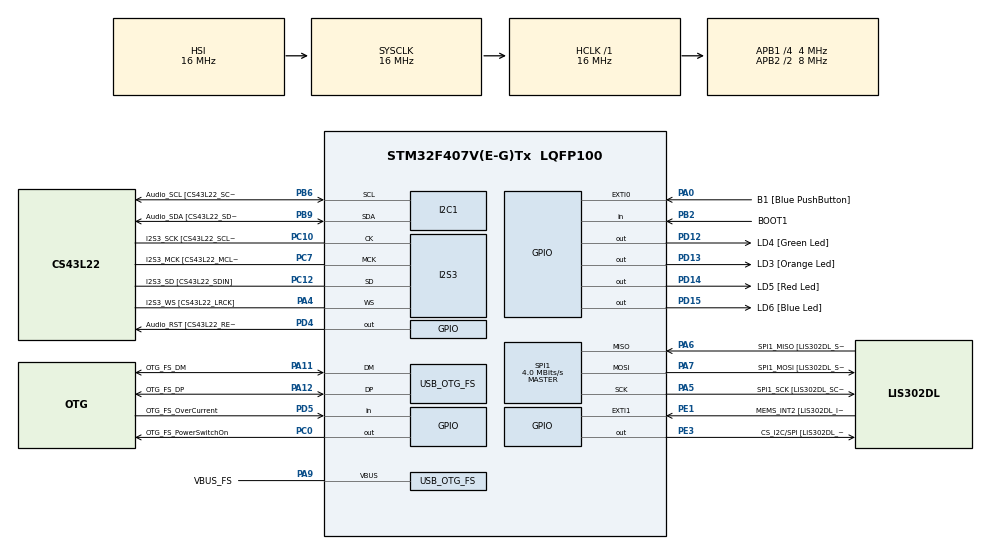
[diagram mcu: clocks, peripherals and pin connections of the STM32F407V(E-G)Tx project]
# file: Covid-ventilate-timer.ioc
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I2S3.AudioFreq=I2S_AUDIOFREQ_48K
I2S3.AudioFreq-Half_Duplex_Master=I2S_AUDIOFREQ_96K
I2S3.DataFormat=I2S_DATAFORMAT_16B_EXTENDED
I2S3.ErrorAudioFreq=-0.17 %
I2S3.ErrorAudioFreq-Half_Duplex_Master=0.8 %
I2S3.FullDuplexMode=I2S_FULLDUPLEXMODE_DISABLE
I2S3.Instance=SPI$Index
I2S3.RealAudioFreq=47.916 KHz
I2S3.RealAudioFreq-Half_Duplex_Master=96.774 KHz
I2S3.VirtualMode=I2S_MODE_MASTER
Mcu.Family=STM32F4
Mcu.Name=STM32F407V(E-G)Tx
Mcu.Package=LQFP100
NVIC.EXTI0_IRQn=true\:0\:0\:false\:false\:true\:true\:true
NVIC.OTG_FS_IRQn=true\:0\:0\:false\:false\:true\:true\:true
NVIC.PriorityGroup=NVIC_PRIORITYGROUP_0
PA0-WKUP.GPIO_Label=B1 [Blue PushButton]
PA0-WKUP.GPIO_ModeDefaultEXTI=GPIO_MODE_IT_RISING
PA0-WKUP.GPIO_PuPd=GPIO_NOPULL
PA0-WKUP.Signal=GPXTI0
PA10.GPIO_Label=OTG_FS_ID
PA10.GPIO_Mode=GPIO_MODE_AF_PP
PA10.GPIO_PuPd=GPIO_NOPULL
PA10.GPIO_Speed=GPIO_SPEED_FREQ_LOW
PA10.Signal=USB_OTG_FS_ID
PA11.GPIO_Label=OTG_FS_DM
PA11.GPIO_Mode=GPIO_MODE_AF_PP
PA11.GPIO_PuPd=GPIO_NOPULL
PA11.GPIO_Speed=GPIO_SPEED_FREQ_LOW
PA11.Mode=Host_Only
PA11.Signal=USB_OTG_FS_DM
PA12.GPIO_Label=OTG_FS_DP
PA12.GPIO_Mode=GPIO_MODE_AF_PP
PA12.GPIO_PuPd=GPIO_NOPULL
PA12.GPIO_Speed=GPIO_SPEED_FREQ_LOW
PA12.Mode=Host_Only
PA12.Signal=USB_OTG_FS_DP
PA13.GPIO_Label=SWDIO
PA13.Mode=Serial_Wire
PA13.Signal=SYS_JTMS-SWDIO
PA14.GPIO_Label=SWCLK
PA14.Mode=Serial_Wire
PA14.Signal=SYS_JTCK-SWCLK
PA4.GPIO_Label=I2S3_WS [CS43L22_LRCK]
PA4.GPIO_Mode=GPIO_MODE_AF_PP
PA4.GPIO_PuPd=GPIO_NOPULL
PA4.GPIO_Speed=GPIO_SPEED_FREQ_LOW
PA4.Mode=Half_Duplex_Master
PA4.Signal=I2S3_WS
PA5.GPIO_Label=SPI1_SCK [LIS302DL_SCL/SPC]
PA5.GPIO_Mode=GPIO_MODE_AF_PP
PA5.GPIO_PuPd=GPIO_NOPULL
PA5.GPIO_Speed=GPIO_SPEED_FREQ_LOW
PA5.Mode=Full_Duplex_Master
PA5.Signal=SPI1_SCK
PA6.GPIO_Label=SPI1_MISO [LIS302DL_SDO]
PA6.GPIO_Mode=GPIO_MODE_AF_PP
PA6.GPIO_PuPd=GPIO_NOPULL
PA6.GPIO_Speed=GPIO_SPEED_FREQ_LOW
PA6.Mode=Full_Duplex_Master
PA6.Signal=SPI1_MISO
PA7.GPIO_Label=SPI1_MOSI [LIS302DL_SDA/SDI/SDO]
PA7.GPIO_Mode=GPIO_MODE_AF_PP
PA7.GPIO_PuPd=GPIO_NOPULL
PA7.GPIO_Speed=GPIO_SPEED_FREQ_LOW
PA7.Mode=Full_Duplex_Master
PA7.Signal=SPI1_MOSI
PA9.GPIO_Label=VBUS_FS
PA9.GPIO_Mode=GPIO_MODE_INPUT
PA9.GPIO_PuPd=GPIO_NOPULL
PA9.Mode=Activate_VBUS
PA9.Signal=USB_OTG_FS_VBUS
PB10.GPIO_Label=CLK_IN [MP45DT02_CLK]
PB10.GPIO_Mode=GPIO_MODE_AF_PP
PB10.GPIO_PuPd=GPIO_NOPULL
PB10.GPIO_Speed=GPIO_SPEED_FREQ_LOW
PB10.Signal=I2S2_CK
PB2.GPIO_Label=BOOT1
PB2.GPIO_Mode=GPIO_MODE_INPUT
PB2.GPIO_PuPd=GPIO_NOPULL
PB2.Signal=GPIO_Input
PB3.GPIO_Label=SWO
PB3.Signal=SYS_JTDO-SWO
PB6.GPIO_Label=Audio_SCL [CS43L22_SCL]
PB6.GPIO_Mode=GPIO_MODE_AF_OD
PB6.GPIO_PuPd=GPIO_NOPULL
PB6.GPIO_Speed=GPIO_SPEED_FREQ_LOW
PB6.Mode=I2C
PB6.Signal=I2C1_SCL
PB9.GPIO_Label=Audio_SDA [CS43L22_SDA]
PB9.GPIO_Mode=GPIO_MODE_AF_OD
PB9.GPIO_PuPd=GPIO_NOPULL
PB9.GPIO_Speed=GPIO_SPEED_FREQ_LOW
PB9.Mode=I2C
PB9.Signal=I2C1_SDA
PC0.GPIO_Label=OTG_FS_PowerSwitchOn
PC0.GPIO_PuPd=GPIO_NOPULL
PC0.GPIO_Speed=GPIO_SPEED_FREQ_LOW
PC0.PinState=GPIO_PIN_SET
PC0.Signal=GPIO_Output
PC10.GPIO_Label=I2S3_SCK [CS43L22_SCLK]
PC10.GPIO_Mode=GPIO_MODE_AF_PP
PC10.GPIO_PuPd=GPIO_NOPULL
PC10.GPIO_Speed=GPIO_SPEED_FREQ_LOW
PC10.Mode=Half_Duplex_Master
PC10.Signal=I2S3_CK
PC12.GPIO_Label=I2S3_SD [CS43L22_SDIN]
PC12.GPIO_Mode=GPIO_MODE_AF_PP
PC12.GPIO_PuPd=GPIO_NOPULL
PC12.GPIO_Speed=GPIO_SPEED_FREQ_LOW
PC12.Mode=Half_Duplex_Master
PC12.Signal=I2S3_SD
PC14-OSC32_IN.GPIO_Label=PC14-OSC32_IN
PC14-OSC32_IN.Mode=LSE-External-Oscillator
PC14-OSC32_IN.Signal=RCC_OSC32_IN
PC15-OSC32_OUT.GPIO_Label=PC15-OSC32_OUT
PC15-OSC32_OUT.Mode=LSE-External-Oscillator
PC15-OSC32_OUT.Signal=RCC_OSC32_OUT
PC3.GPIO_Label=PDM_OUT [MP45DT02_DOUT]
PC3.GPIO_Mode=GPIO_MODE_AF_PP
PC3.GPIO_PuPd=GPIO_NOPULL
PC3.GPIO_Speed=GPIO_SPEED_FREQ_LOW
PC3.Signal=I2S2_SD
PC7.GPIO_Label=I2S3_MCK [CS43L22_MCLK]
PC7.GPIO_Mode=GPIO_MODE_AF_PP
PC7.GPIO_PuPd=GPIO_NOPULL
PC7.GPIO_Speed=GPIO_SPEED_FREQ_LOW
PC7.Mode=Master_Clock_Activated
PC7.Signal=I2S3_MCK
PD12.GPIO_Label=LD4 [Green Led]
PD12.GPIO_PuPd=GPIO_NOPULL
PD12.GPIO_Speed=GPIO_SPEED_FREQ_LOW
PD12.Signal=GPIO_Output
PD13.GPIO_Label=LD3 [Orange Led]
PD13.GPIO_PuPd=GPIO_NOPULL
PD13.GPIO_Speed=GPIO_SPEED_FREQ_LOW
PD13.Signal=GPIO_Output
PD14.GPIO_Label=LD5 [Red Led]
PD14.GPIO_PuPd=GPIO_NOPULL
PD14.GPIO_Speed=GPIO_SPEED_FREQ_LOW
PD14.Signal=GPIO_Output
PD15.GPIO_Label=LD6 [Blue Led]
PD15.GPIO_PuPd=GPIO_NOPULL
PD15.GPIO_Speed=GPIO_SPEED_FREQ_LOW
PD15.Signal=GPIO_Output
PD4.GPIO_Label=Audio_RST [CS43L22_RESET]
PD4.GPIO_PuPd=GPIO_NOPULL
PD4.GPIO_Speed=GPIO_SPEED_FREQ_LOW
PD4.Signal=GPIO_Output
PD5.GPIO_Label=OTG_FS_OverCurrent
PD5.GPIO_Mode=GPIO_MODE_INPUT
PD5.GPIO_PuPd=GPIO_NOPULL
PD5.Signal=GPIO_Input
PE1.GPIO_Label=MEMS_INT2 [LIS302DL_INT2]
PE1.GPIO_ModeDefaultEXTI=GPIO_MODE_EVT_RISING
PE1.GPIO_PuPd=GPIO_NOPULL
PE1.Signal=GPXTI1
PE3.GPIO_Label=CS_I2C/SPI [LIS302DL_CS_I2C/SPI]
PE3.GPIO_PuPd=GPIO_NOPULL
PE3.GPIO_Speed=GPIO_SPEED_FREQ_LOW
PE3.Signal=GPIO_Output
PH0-OSC_IN.GPIO_Label=PH0-OSC_IN
PH0-OSC_IN.Mode=HSE-External-Oscillator
PH0-OSC_IN.Signal=RCC_OSC_IN
PH1-OSC_OUT.GPIO_Label=PH1-OSC_OUT
PH1-OSC_OUT.Mode=HSE-External-Oscillator
PH1-OSC_OUT.Signal=RCC_OSC_OUT
ProjectManager.HeapSize=0x200
ProjectManager.StackSize=0x400
ProjectManager.TargetToolchain=STM32CubeIDE
RCC.48MHZClocksFreq_Value=48000000
RCC.AHBFreq_Value=16000000
RCC.APB1CLKDivider=RCC_HCLK_DIV4
RCC.APB1Freq_Value=4000000
RCC.APB1TimFreq_Value=8000000
RCC.APB2CLKDivider=RCC_HCLK_DIV2
RCC.APB2Freq_Value=8000000
RCC.APB2TimFreq_Value=16000000
RCC.CortexFreq_Value=16000000
RCC.HCLKFreq_Value=16000000
RCC.HSE_VALUE=8000000
RCC.HSI_VALUE=16000000
RCC.PLLI2SN=184
RCC.PLLM=4
RCC.PLLN=72
RCC.PLLP=RCC_PLLP_DIV4
RCC.PLLQ=3
RCC.SYSCLKFreq_VALUE=16000000
RCC.VCOOutputFreq_Value=144000000
SPI1.BaudRatePrescaler-Full_Duplex_Master=SPI_BAUDRATEPRESCALER_2
SPI1.CalculateBaudRate=4.0 MBits/s
SPI1.CalculateBaudRate-Full_Duplex_Master=42.0 MBits/s
SPI1.Direction=SPI_DIRECTION_2LINES
SPI1.Mode=SPI_MODE_MASTER
SPI1.Mode-Full_Duplex_Master=SPI_MODE_MASTER
SPI1.VirtualType=VM_MASTER
USB_HOST.BSP.number=1
USB_HOST.USBH_HandleTypeDef-CDC_FS=hUsbHostFS
USB_HOST.VirtualModeFS=Cdc
USB_HOST0.BSP.STBoard=false
USB_HOST0.BSP.api=Unknown
USB_HOST0.BSP.i2caddr=0
USB_HOST0.BSP.i2creg=0
USB_HOST0.BSP.instance=PC0
USB_HOST0.BSP.ip=GPIO
USB_HOST0.BSP.mode=Output
USB_HOST0.BSP.name=Drive_VBUS_FS
USB_HOST0.BSP.solution=PC0
USB_OTG_FS.VirtualMode=Host_Only
USB_OTG_FS.phy_itface=HCD_PHY_EMBEDDED
VP_TIM6_VS_ClockSourceINT.Mode=Enable_Timer
VP_USB_HOST_VS_USB_HOST_CDC_FS.Mode=CDC_FS
board=STM32F407G-DISC1

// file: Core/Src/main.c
/* USER CODE BEGIN Header */
/**
  ******************************************************************************
  * @file           : main.c
  * @brief          : Main program body
  ******************************************************************************
  * @attention
  *
  * <h2><center>&copy; Copyright (c) 2021 STMicroelectronics.
  * All rights reserved.</center></h2>
  *
  * This software component is licensed by ST under Ultimate Liberty license
  * SLA0044, the "License"; You may not use this file except in compliance with
  * the License. You may obtain a copy of the License at:
  *                             www.st.com/SLA0044
  *
  ******************************************************************************
  */
/* USER CODE END Header */
#include "main.h"
#include "usb_host.h"

/* USER CODE BEGIN Includes */
#include <stdbool.h>
/* USER CODE END Includes */

I2C_HandleTypeDef hi2c1;

I2S_HandleTypeDef hi2s3;

SPI_HandleTypeDef hspi1;

TIM_HandleTypeDef htim6;

/* USER CODE BEGIN PV */
uint32_t LoopCountWindowClosed = 30*60;
uint32_t LoopCountWindowOpened = 5*60;

bool	ButtonPressed;
/* USER CODE END PV */

void SystemClock_Config(void);
static void MX_GPIO_Init(void);
static void MX_I2C1_Init(void);
static void MX_I2S3_Init(void);
static void MX_SPI1_Init(void);
static void MX_TIM6_Init(void);
void MX_USB_HOST_Process(void);

int main(void)
{

  /* MCU Configuration--------------------------------------------------------*/

  /* Reset of all peripherals, Initializes the Flash interface and the Systick. */
  HAL_Init();

  /* Configure the system clock */
  SystemClock_Config();

  /* Initialize all configured peripherals */
  MX_GPIO_Init();
  MX_I2C1_Init();
  MX_I2S3_Init();
  MX_SPI1_Init();
  MX_TIM6_Init();
  MX_USB_HOST_Init();
  /* USER CODE BEGIN 2 */

  	  ButtonPressed = false;

  /* USER CODE END 2 */

  /* Infinite loop */
  /* USER CODE BEGIN WHILE */
  while (1)
  {

	  HAL_Delay(1000);		// Delay in ms

	  HAL_GPIO_WritePin(GPIOD, GPIO_PIN_14, 1);		//	Red
	  HAL_GPIO_WritePin(GPIOD, GPIO_PIN_12, 1);		//	Green
	  HAL_GPIO_WritePin(GPIOD, GPIO_PIN_15, 1);		//	Blue
	  HAL_GPIO_WritePin(GPIOD, GPIO_PIN_13, 1);		//	Orange

	  HAL_Delay(1*1000);	// Delay in ms

	  HAL_GPIO_WritePin(GPIOD, GPIO_PIN_14, 0);		//
	  HAL_GPIO_WritePin(GPIOD, GPIO_PIN_12, 0);		//
	  HAL_GPIO_WritePin(GPIOD, GPIO_PIN_15, 0);		//
	  HAL_GPIO_WritePin(GPIOD, GPIO_PIN_13, 0);		//

	  HAL_Delay(1*1000);	// Delay in ms

//	+	+	+		Alarm to Open the windows for fresh air and wait for PushButton	to confirm the opened windows	+	+	+	//
	  for (int var = 0; var < 1024; var++) {
		  HAL_GPIO_TogglePin(GPIOD, GPIO_PIN_14);	// Red
		  HAL_GPIO_TogglePin(GPIOD, GPIO_PIN_12);	// Green
		  HAL_GPIO_TogglePin(GPIOD, GPIO_PIN_15);	// Blue
		  HAL_GPIO_TogglePin(GPIOD, GPIO_PIN_13);	// Orange

		  HAL_Delay(200);	// Delay in ms

		  if (ButtonPressed == true) {			// Loop is running until the PushButton is pressed to confirm the opened windows
			  HAL_GPIO_WritePin(GPIOD, GPIO_PIN_14, 0);		//	Red
			  HAL_GPIO_WritePin(GPIOD, GPIO_PIN_12, 0);		//	Green
			  HAL_GPIO_WritePin(GPIOD, GPIO_PIN_15, 0);		//	Blue
			  HAL_GPIO_WritePin(GPIOD, GPIO_PIN_13, 0);		//	Orange

			  HAL_Delay(100);
			  ButtonPressed = false;
			  break;
		} else {
			var = 42;
		}
	}

//	+	+	+		Waiting the amount of time, for how long the windows should be opened	+	+	+	//
	  for (int var = 0; var < LoopCountWindowOpened; var++) {
//		  HAL_GPIO_TogglePin(GPIOD, GPIO_PIN_14);	// Red
		  HAL_GPIO_TogglePin(GPIOD, GPIO_PIN_12);	// Green
//		  HAL_GPIO_TogglePin(GPIOD, GPIO_PIN_15);	// Blue
//		  HAL_GPIO_TogglePin(GPIOD, GPIO_PIN_13);	// Orange

		  HAL_Delay(1000);	// Delay in ms
	}

// The windows can now be closed again
	  HAL_GPIO_WritePin(GPIOD, GPIO_PIN_14, 0);		//	Red
	  HAL_GPIO_WritePin(GPIOD, GPIO_PIN_12, 0);		//	Green
	  HAL_GPIO_WritePin(GPIOD, GPIO_PIN_15, 0);		//	Blue
	  HAL_GPIO_WritePin(GPIOD, GPIO_PIN_13, 0);		//	Orange
	  HAL_Delay(100);	// Delay in ms

//	+	+	+		Alarm to Close the windows	and wait for PushButton	to confirm the closed windows	+	+	+	//
	  for (int var = 0; var < 1024; var++) {
		  HAL_GPIO_TogglePin(GPIOD, GPIO_PIN_14);	// Red
		  //HAL_GPIO_TogglePin(GPIOD, GPIO_PIN_12);	// Green
		  //HAL_GPIO_TogglePin(GPIOD, GPIO_PIN_15);	// Blue
		  HAL_GPIO_TogglePin(GPIOD, GPIO_PIN_13);	// Orange

		  HAL_Delay(200);	// Delay in ms

		  if (ButtonPressed == true) {			// Loop is running until the PushButton is pressed to confirm the closed windows

			  HAL_GPIO_WritePin(GPIOD, GPIO_PIN_14, 0);		//	Red
			  HAL_GPIO_WritePin(GPIOD, GPIO_PIN_12, 0);		//	Green
			  HAL_GPIO_WritePin(GPIOD, GPIO_PIN_15, 0);		//	Blue
			  HAL_GPIO_WritePin(GPIOD, GPIO_PIN_13, 0);		//	Orange

			  HAL_Delay(100);
			  ButtonPressed = false;
			  break;
		} else {
			var = 42;
		}
	}
// Windows are now closed. Start to wait the amount of time with closed windows.

//	+	+	+		Waiting the amount of time, for how long the windows can be closed	+	+	+	//
	  for (int var = 0; var < LoopCountWindowClosed; var++) {
			  HAL_GPIO_TogglePin(GPIOD, GPIO_PIN_14);	// Red
	//		  HAL_GPIO_TogglePin(GPIOD, GPIO_PIN_12);	// Green
	//		  HAL_GPIO_TogglePin(GPIOD, GPIO_PIN_15);	// Blue
	//		  HAL_GPIO_TogglePin(GPIOD, GPIO_PIN_13);	// Orange

			  HAL_Delay(1000);	// Delay in ms
	}

	  HAL_GPIO_WritePin(GPIOD, GPIO_PIN_14, 0);		//	Red
	  HAL_GPIO_WritePin(GPIOD, GPIO_PIN_12, 0);		//	Green
	  HAL_GPIO_WritePin(GPIOD, GPIO_PIN_15, 0);		//	Blue
	  HAL_GPIO_WritePin(GPIOD, GPIO_PIN_13, 0);		//	Orange

    /* USER CODE END WHILE */
    MX_USB_HOST_Process();

  }
}

void SystemClock_Config(void)
{
  RCC_OscInitTypeDef RCC_OscInitStruct = {0};
  RCC_ClkInitTypeDef RCC_ClkInitStruct = {0};
  RCC_PeriphCLKInitTypeDef PeriphClkInitStruct = {0};

  /** Configure the main internal regulator output voltage
  */
  __HAL_RCC_PWR_CLK_ENABLE();
  __HAL_PWR_VOLTAGESCALING_CONFIG(PWR_REGULATOR_VOLTAGE_SCALE1);
  /** Initializes the RCC Oscillators according to the specified parameters
  * in the RCC_OscInitTypeDef structure.
  */
  RCC_OscInitStruct.OscillatorType = RCC_OSCILLATORTYPE_HSI|RCC_OSCILLATORTYPE_HSE;
  RCC_OscInitStruct.HSEState = RCC_HSE_ON;
  RCC_OscInitStruct.HSIState = RCC_HSI_ON;
  RCC_OscInitStruct.HSICalibrationValue = RCC_HSICALIBRATION_DEFAULT;
  RCC_OscInitStruct.PLL.PLLState = RCC_PLL_ON;
  RCC_OscInitStruct.PLL.PLLSource = RCC_PLLSOURCE_HSE;
  RCC_OscInitStruct.PLL.PLLM = 4;
  RCC_OscInitStruct.PLL.PLLN = 72;
  RCC_OscInitStruct.PLL.PLLP = RCC_PLLP_DIV4;
  RCC_OscInitStruct.PLL.PLLQ = 3;
  if (HAL_RCC_OscConfig(&RCC_OscInitStruct) != HAL_OK)
  {
    Error_Handler();
  }
  /** Initializes the CPU, AHB and APB buses clocks
  */
  RCC_ClkInitStruct.ClockType = RCC_CLOCKTYPE_HCLK|RCC_CLOCKTYPE_SYSCLK
                              |RCC_CLOCKTYPE_PCLK1|RCC_CLOCKTYPE_PCLK2;
  RCC_ClkInitStruct.SYSCLKSource = RCC_SYSCLKSOURCE_HSI;
  RCC_ClkInitStruct.AHBCLKDivider = RCC_SYSCLK_DIV1;
  RCC_ClkInitStruct.APB1CLKDivider = RCC_HCLK_DIV4;
  RCC_ClkInitStruct.APB2CLKDivider = RCC_HCLK_DIV2;

  if (HAL_RCC_ClockConfig(&RCC_ClkInitStruct, FLASH_LATENCY_0) != HAL_OK)
  {
    Error_Handler();
  }
  PeriphClkInitStruct.PeriphClockSelection = RCC_PERIPHCLK_I2S;
  PeriphClkInitStruct.PLLI2S.PLLI2SN = 184;
  PeriphClkInitStruct.PLLI2S.PLLI2SR = 2;
  if (HAL_RCCEx_PeriphCLKConfig(&PeriphClkInitStruct) != HAL_OK)
  {
    Error_Handler();
  }
}

static void MX_I2C1_Init(void)
{

  hi2c1.Instance = I2C1;
  hi2c1.Init.ClockSpeed = 100000;
  hi2c1.Init.DutyCycle = I2C_DUTYCYCLE_2;
  hi2c1.Init.OwnAddress1 = 0;
  hi2c1.Init.AddressingMode = I2C_ADDRESSINGMODE_7BIT;
  hi2c1.Init.DualAddressMode = I2C_DUALADDRESS_DISABLE;
  hi2c1.Init.OwnAddress2 = 0;
  hi2c1.Init.GeneralCallMode = I2C_GENERALCALL_DISABLE;
  hi2c1.Init.NoStretchMode = I2C_NOSTRETCH_DISABLE;
  if (HAL_I2C_Init(&hi2c1) != HAL_OK)
  {
    Error_Handler();
  }

}

static void MX_I2S3_Init(void)
{

  hi2s3.Instance = SPI3;
  hi2s3.Init.Mode = I2S_MODE_MASTER_TX;
  hi2s3.Init.Standard = I2S_STANDARD_PHILIPS;
  hi2s3.Init.DataFormat = I2S_DATAFORMAT_16B_EXTENDED;
  hi2s3.Init.MCLKOutput = I2S_MCLKOUTPUT_ENABLE;
  hi2s3.Init.AudioFreq = I2S_AUDIOFREQ_48K;
  hi2s3.Init.CPOL = I2S_CPOL_LOW;
  hi2s3.Init.ClockSource = I2S_CLOCK_PLL;
  hi2s3.Init.FullDuplexMode = I2S_FULLDUPLEXMODE_DISABLE;
  if (HAL_I2S_Init(&hi2s3) != HAL_OK)
  {
    Error_Handler();
  }

}

static void MX_SPI1_Init(void)
{

  /* SPI1 parameter configuration*/
  hspi1.Instance = SPI1;
  hspi1.Init.Mode = SPI_MODE_MASTER;
  hspi1.Init.Direction = SPI_DIRECTION_2LINES;
  hspi1.Init.DataSize = SPI_DATASIZE_8BIT;
  hspi1.Init.CLKPolarity = SPI_POLARITY_LOW;
  hspi1.Init.CLKPhase = SPI_PHASE_1EDGE;
  hspi1.Init.NSS = SPI_NSS_SOFT;
  hspi1.Init.BaudRatePrescaler = SPI_BAUDRATEPRESCALER_2;
  hspi1.Init.FirstBit = SPI_FIRSTBIT_MSB;
  hspi1.Init.TIMode = SPI_TIMODE_DISABLE;
  hspi1.Init.CRCCalculation = SPI_CRCCALCULATION_DISABLE;
  hspi1.Init.CRCPolynomial = 10;
  if (HAL_SPI_Init(&hspi1) != HAL_OK)
  {
    Error_Handler();
  }

}

static void MX_TIM6_Init(void)
{

  TIM_MasterConfigTypeDef sMasterConfig = {0};

  htim6.Instance = TIM6;
  htim6.Init.Prescaler = 0;
  htim6.Init.CounterMode = TIM_COUNTERMODE_UP;
  htim6.Init.Period = 65535;
  htim6.Init.AutoReloadPreload = TIM_AUTORELOAD_PRELOAD_DISABLE;
  if (HAL_TIM_Base_Init(&htim6) != HAL_OK)
  {
    Error_Handler();
  }
  sMasterConfig.MasterOutputTrigger = TIM_TRGO_RESET;
  sMasterConfig.MasterSlaveMode = TIM_MASTERSLAVEMODE_DISABLE;
  if (HAL_TIMEx_MasterConfigSynchronization(&htim6, &sMasterConfig) != HAL_OK)
  {
    Error_Handler();
  }

}

static void MX_GPIO_Init(void)
{
  GPIO_InitTypeDef GPIO_InitStruct = {0};

  /* GPIO Ports Clock Enable */
  __HAL_RCC_GPIOE_CLK_ENABLE();
  __HAL_RCC_GPIOC_CLK_ENABLE();
  __HAL_RCC_GPIOH_CLK_ENABLE();
  __HAL_RCC_GPIOA_CLK_ENABLE();
  __HAL_RCC_GPIOB_CLK_ENABLE();
  __HAL_RCC_GPIOD_CLK_ENABLE();

  /*Configure GPIO pin Output Level */
  HAL_GPIO_WritePin(CS_I2C_SPI_GPIO_Port, CS_I2C_SPI_Pin, GPIO_PIN_RESET);

  /*Configure GPIO pin Output Level */
  HAL_GPIO_WritePin(OTG_FS_PowerSwitchOn_GPIO_Port, OTG_FS_PowerSwitchOn_Pin, GPIO_PIN_SET);

  /*Configure GPIO pin Output Level */
  HAL_GPIO_WritePin(GPIOD, LD4_Pin|LD3_Pin|LD5_Pin|LD6_Pin
                          |Audio_RST_Pin, GPIO_PIN_RESET);

  /*Configure GPIO pin : CS_I2C_SPI_Pin */
  GPIO_InitStruct.Pin = CS_I2C_SPI_Pin;
  GPIO_InitStruct.Mode = GPIO_MODE_OUTPUT_PP;
  GPIO_InitStruct.Pull = GPIO_NOPULL;
  GPIO_InitStruct.Speed = GPIO_SPEED_FREQ_LOW;
  HAL_GPIO_Init(CS_I2C_SPI_GPIO_Port, &GPIO_InitStruct);

  /*Configure GPIO pin : OTG_FS_PowerSwitchOn_Pin */
  GPIO_InitStruct.Pin = OTG_FS_PowerSwitchOn_Pin;
  GPIO_InitStruct.Mode = GPIO_MODE_OUTPUT_PP;
  GPIO_InitStruct.Pull = GPIO_NOPULL;
  GPIO_InitStruct.Speed = GPIO_SPEED_FREQ_LOW;
  HAL_GPIO_Init(OTG_FS_PowerSwitchOn_GPIO_Port, &GPIO_InitStruct);

  /*Configure GPIO pin : PDM_OUT_Pin */
  GPIO_InitStruct.Pin = PDM_OUT_Pin;
  GPIO_InitStruct.Mode = GPIO_MODE_AF_PP;
  GPIO_InitStruct.Pull = GPIO_NOPULL;
  GPIO_InitStruct.Speed = GPIO_SPEED_FREQ_LOW;
  GPIO_InitStruct.Alternate = GPIO_AF5_SPI2;
  HAL_GPIO_Init(PDM_OUT_GPIO_Port, &GPIO_InitStruct);

  /*Configure GPIO pin : B1_Pin */
  GPIO_InitStruct.Pin = B1_Pin;
  GPIO_InitStruct.Mode = GPIO_MODE_IT_RISING;
  GPIO_InitStruct.Pull = GPIO_NOPULL;
  HAL_GPIO_Init(B1_GPIO_Port, &GPIO_InitStruct);

  /*Configure GPIO pin : BOOT1_Pin */
  GPIO_InitStruct.Pin = BOOT1_Pin;
  GPIO_InitStruct.Mode = GPIO_MODE_INPUT;
  GPIO_InitStruct.Pull = GPIO_NOPULL;
  HAL_GPIO_Init(BOOT1_GPIO_Port, &GPIO_InitStruct);

  /*Configure GPIO pin : CLK_IN_Pin */
  GPIO_InitStruct.Pin = CLK_IN_Pin;
  GPIO_InitStruct.Mode = GPIO_MODE_AF_PP;
  GPIO_InitStruct.Pull = GPIO_NOPULL;
  GPIO_InitStruct.Speed = GPIO_SPEED_FREQ_LOW;
  GPIO_InitStruct.Alternate = GPIO_AF5_SPI2;
  HAL_GPIO_Init(CLK_IN_GPIO_Port, &GPIO_InitStruct);

  /*Configure GPIO pins : LD4_Pin LD3_Pin LD5_Pin LD6_Pin
                           Audio_RST_Pin */
  GPIO_InitStruct.Pin = LD4_Pin|LD3_Pin|LD5_Pin|LD6_Pin
                          |Audio_RST_Pin;
  GPIO_InitStruct.Mode = GPIO_MODE_OUTPUT_PP;
  GPIO_InitStruct.Pull = GPIO_NOPULL;
  GPIO_InitStruct.Speed = GPIO_SPEED_FREQ_LOW;
  HAL_GPIO_Init(GPIOD, &GPIO_InitStruct);

  /*Configure GPIO pin : OTG_FS_OverCurrent_Pin */
  GPIO_InitStruct.Pin = OTG_FS_OverCurrent_Pin;
  GPIO_InitStruct.Mode = GPIO_MODE_INPUT;
  GPIO_InitStruct.Pull = GPIO_NOPULL;
  HAL_GPIO_Init(OTG_FS_OverCurrent_GPIO_Port, &GPIO_InitStruct);

  /*Configure GPIO pin : MEMS_INT2_Pin */
  GPIO_InitStruct.Pin = MEMS_INT2_Pin;
  GPIO_InitStruct.Mode = GPIO_MODE_EVT_RISING;
  GPIO_InitStruct.Pull = GPIO_NOPULL;
  HAL_GPIO_Init(MEMS_INT2_GPIO_Port, &GPIO_InitStruct);

  /* EXTI interrupt init*/
  HAL_NVIC_SetPriority(EXTI0_IRQn, 0, 0);
  HAL_NVIC_EnableIRQ(EXTI0_IRQn);

}

/* USER CODE BEGIN 4 */

/**
  * @brief EXTI line detection callbacks
  * @param GPIO_Pin: Specifies the pins connected EXTI line
  * @retval None
  */
void HAL_GPIO_EXTI_Callback(uint16_t GPIO_Pin)
{
  if(GPIO_Pin == GPIO_PIN_0)
  {
    /* Toggle LED1 */
    ButtonPressed = true;
  }
}

/* USER CODE END 4 */

void Error_Handler(void)
{
  __disable_irq();
  while (1)
  {
  }
}

/************************ (C) COPYRIGHT STMicroelectronics *****END OF FILE****/
